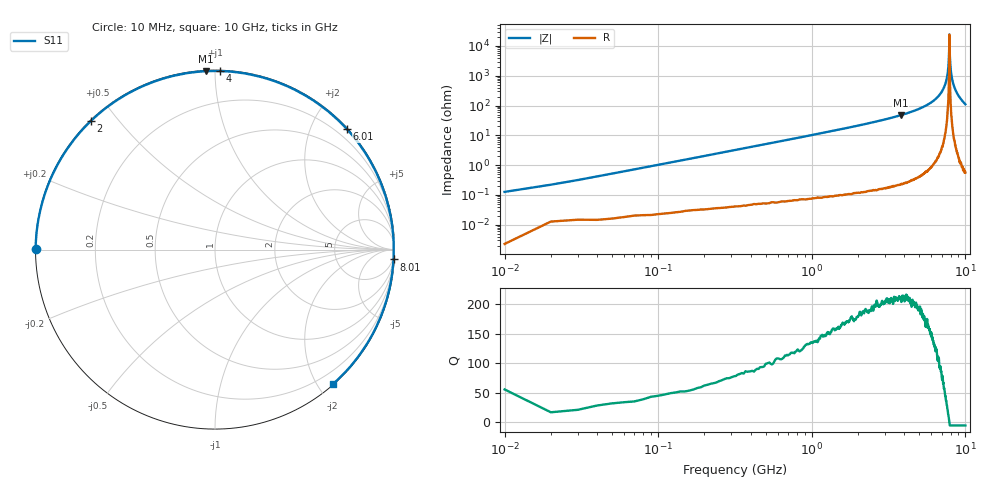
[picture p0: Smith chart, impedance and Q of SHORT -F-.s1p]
!Keysight Technologies,N5242A,MY53222596,A.10.47.06
!Date: Thursday, November 09, 2017 12:25:34
!Correction: S33(Full 2 Port(1,3))
!S1P File: Measurement: S33:
# Hz S  MA  R 50
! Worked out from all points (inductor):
!   1000 points, 10 MHz to 10 GHz, reference 50 ohm
!   read as one part to ground: L = 1.63 nH near 60 MHz
!   highest Q = 211 at 3.79 GHz (marker M1), where L = 1.99 nH
!   self-resonance near 7.87 GHz
!   S11 on the Smith chart (normalised r, x): 10 MHz: 0.00, +0.00; 2 GHz: 0.00, +0.42; 4 GHz: 0.00, +1.03; 6.01 GHz: 0.02, +2.58; 8.01 GHz: 3, -36; 10 GHz: 0.01, -2.21
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1e7  0.9999 179.7
3.2e8  0.9984 172.6
6.3e8  0.9976 165.4
9.4e8  0.9972 158.3
1.26e9  0.9968 151.0
1.62e9  0.9964 142.7
2e9  0.996 134.0
2.51e9  0.9955 122.3
2.82e9  0.9955 115.2
3.14e9  0.9954 107.9
3.46e9  0.9954 100.6
3.76e9  0.9953 93.7
3.79e9  0.9953 93.0
4e9  0.9952 88.2
4.5e9  0.9952 76.8
5.01e9  0.9952 65.2
5.5e9  0.995 54.1
6.01e9  0.9955 42.4
6.26e9  0.9955 36.7
6.87e9  0.9959 22.8
7.18e9  0.996 15.8
7.51e9  0.996 8.3
8.01e9  0.9961 -3.2
8.38e9  0.9964 -11.6
8.76e9  0.9962 -20.3
9.29e9  0.9962 -32.4
9.66e9  0.9967 -40.9
1e10  0.9962 -48.7
